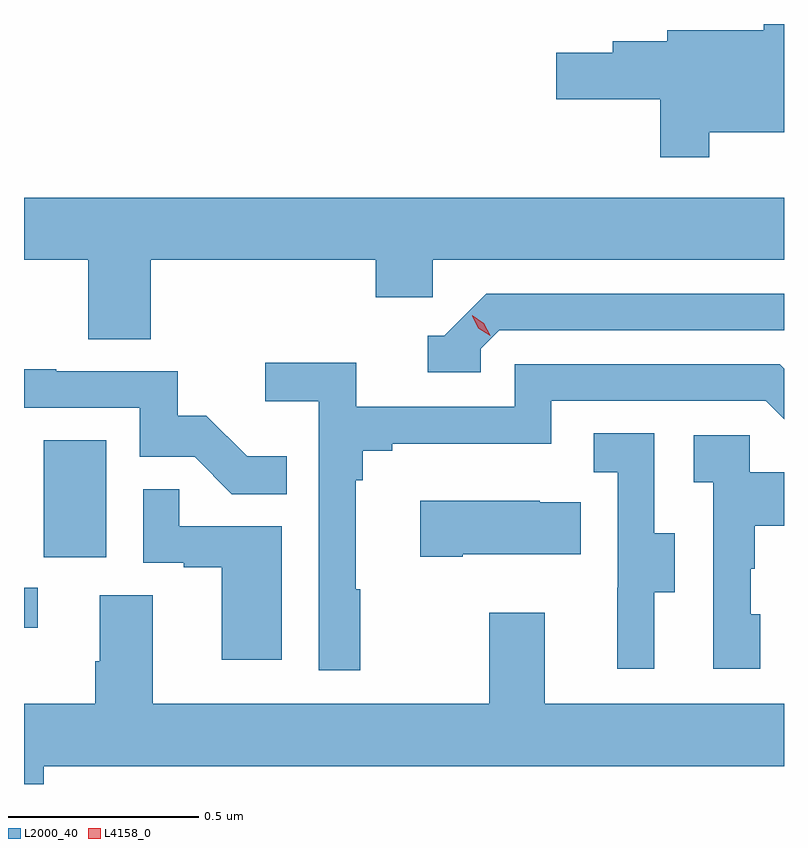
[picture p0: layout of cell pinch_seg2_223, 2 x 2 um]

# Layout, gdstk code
import gdstk
lib = gdstk.Library(unit=1e-6, precision=1e-09)
def R(c, l, rs):  # rectangles x0, y0, x1, y1
    for r in rs: c.add(gdstk.rectangle(r[:2], r[2:], *l))
def P(c, l, *ps):  # polygons
    for p in ps: c.add(gdstk.Polygon(p, *l))
L2000_40 = (2000, 40)
L4158_0 = (4158, 0)

pinch_seg2_223 = lib.new_cell('pinch_seg2_223')
R(pinch_seg2_223, L2000_40, [(969.13,654.66,969.166,654.765), (969.182,654.846,969.346,655.153)])
P(pinch_seg2_223, L2000_40, [(970.933,655.964),(971.13,655.964),(971.13,656.249),(971.077,656.249),(971.077,656.233),(970.823,656.233),(970.823,656.203),(970.679,656.203),(970.679,656.173),(970.53,656.173),(970.53,656.051),(970.804,656.051),(970.804,655.899),(970.933,655.899)],
  [(969.464,655.628),(970.055,655.628),(970.055,655.53),(970.206,655.53),(970.206,655.628),(971.13,655.628),(971.13,655.792),(969.13,655.792),(969.13,655.628),(969.299,655.628),(969.299,655.42),(969.464,655.42)],
  [(970.332,655.395),(970.38,655.443),(971.13,655.443),(971.13,655.539),(970.347,655.539),(970.236,655.428),(970.193,655.428),(970.193,655.332),(970.332,655.332)],
  [(970.015,654.761),(970.003,654.761),(970.003,655.049),(970.022,655.049),(970.022,655.126),(970.099,655.126),(970.099,655.145),(970.518,655.145),(970.518,655.257),(971.082,655.257),(971.13,655.209),(971.13,655.342),(971.119,655.353),(970.422,655.353),(970.422,655.242),(970.004,655.242),(970.004,655.358),(969.765,655.358),(969.765,655.256),(969.906,655.256),(969.906,654.549),(970.015,654.549)],
  [(969.821,655.111),(969.717,655.111),(969.61,655.218),(969.534,655.218),(969.534,655.335),(969.215,655.335),(969.215,655.34),(969.13,655.34),(969.13,655.239),(969.435,655.239),(969.435,655.11),(969.579,655.11),(969.677,655.012),(969.821,655.012)],
  [(970.789,654.754),(970.843,654.754),(970.843,654.909),(970.788,654.909),(970.788,655.172),(970.629,655.172),(970.629,655.069),(970.692,655.069),(970.692,654.765),(970.691,654.765),(970.691,654.552),(970.789,654.552)],
  [(971.068,654.696),(971.043,654.696),(971.043,654.815),(971.053,654.815),(971.053,654.929),(971.13,654.929),(971.13,655.069),(971.04,655.069),(971.04,655.167),(970.893,655.167),(970.893,655.043),(970.944,655.043),(970.944,654.552),(971.068,654.552)],
  [(969.808,654.927),(969.539,654.927),(969.539,655.025),(969.444,655.025),(969.444,654.831),(969.551,654.831),(969.551,654.819),(969.65,654.819),(969.65,654.576),(969.808,654.576)],
  [(970.285,654.854),(970.595,654.854),(970.595,654.991),(970.487,654.991),(970.487,654.994),(970.173,654.994),(970.173,654.847),(970.285,654.847)],
  [(969.182,654.296),(971.13,654.296),(971.13,654.46),(970.501,654.46),(970.501,654.7),(970.354,654.7),(970.354,654.46),(969.469,654.46),(969.469,654.746),(969.329,654.746),(969.329,654.572),(969.317,654.572),(969.317,654.46),(969.13,654.46),(969.13,654.249),(969.182,654.249)])
P(pinch_seg2_223, L4158_0, [(970.357,655.429),(970.326,655.449),(970.309,655.481),(970.309,655.482),(970.309,655.482),(970.34,655.462),(970.357,655.43),(970.357,655.429)])

lib.write_gds('pinch_seg2_223.gds')
